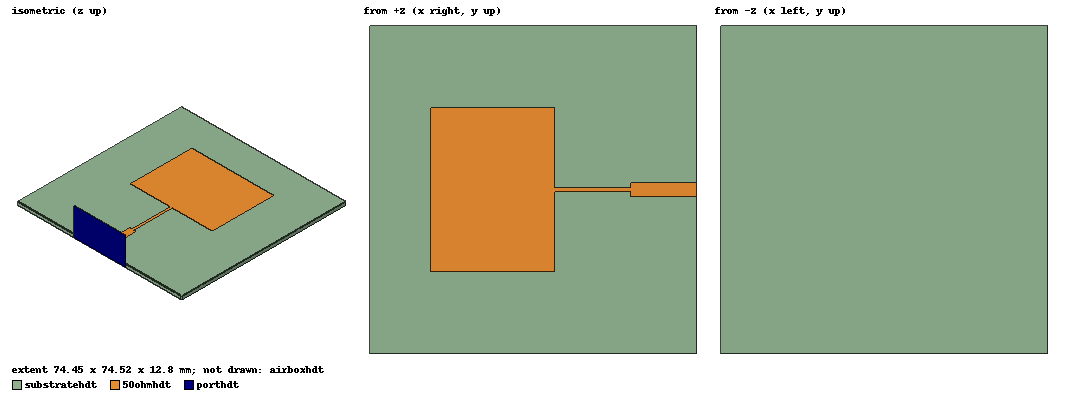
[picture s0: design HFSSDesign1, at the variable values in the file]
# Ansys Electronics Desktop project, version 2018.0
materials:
  vacuum: permittivity=1
  FR4_epoxy: permittivity=4.4 dielectric_loss_tangent=0.02

design HFSSDesign1 (HFSS, DrivenModal, model units mm)
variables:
  H = 1.6mm
  L0 = 28mm
  W0 = 37.26mm
  L1 = 17.45mm
  W1 = 1mm
  L2 = 15mm
  W2 = 2.98mm
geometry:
  substratehdt [FR4_epoxy] = box(corner=(-L0, -W0, 0mm), size=(1.5*L0+L1+L2, 2*W0, H))
  patch = rectangle(corner=(-L0/2, -W0/2, H), x_size=L0, y_size=W0)
  transition = rectangle(corner=(L0/2, -W1/2, H), x_size=L1, y_size=W1)
  50ohmhdt = rectangle(corner=(L0/2+L1, -W2/2, H), x_size=L2, y_size=W2)
  50ohmhdt.unite(patch, transition)
  airboxhdt [vacuum] = box(corner=(-L0/2-30mm, -W0/2-30mm, 0mm), size=(L0+L1+L2+30mm, W0+60mm, H+30mm))
  porthdt = rectangle(corner=(L0/2+L1+L2, -4*W2, 0mm), y_size=8*W2, z_size=8*H)
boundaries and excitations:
  PerfE1: Perfect E Objects=50ohmhdt
  Rad1: Radiation Objects=airboxhdt
  PerfE2: Perfect E Faces=substratehdt.face(-z)
  1: Wave Port Faces=porthdt.face NumModes=1 Modes{Mode1{CharImp=Zpi RenormImp=50ohm}}
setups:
  Setup1: HfssDriven Frequency=2.45GHz MaxDeltaS=0.02 MaximumPasses=20 MinimumPasses=1 MinimumConvergedPasses=1 PercentRefinement=30 BasisOrder=1 PortAccuracy=2
    sweep Sweep: 1.5GHz to 3.5GHz step 0.01GHz; Type=Fast SaveFields
  Setup2: HfssDriven Frequency=5GHz MaxDeltaS=0.02 MaximumPasses=6 MinimumPasses=1 MinimumConvergedPasses=1 PercentRefinement=30 BasisOrder=1 PortAccuracy=2
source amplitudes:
  1:1: 1W 0deg
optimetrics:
  ParametricSetup1: Parametric Sim._Setups=[Setup1]
    sweep L0: LIN 27mm 30mm 1mm
  ParametricSetup2: Parametric Sim._Setups=[Setup1]
    sweep W1: LIN 0.9mm 1.4mm 0.1mm
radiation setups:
  Infinite Sphere1: Infinite Sphere Theta=-180deg..180deg step 1deg Phi=0deg..90deg step 90deg
  3d: Infinite Sphere Theta=0deg..180deg step 2deg Phi=0deg..360deg step 2deg
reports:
  S Parameter Plot 1: dB(S(1,1)) vs Freq on Setup1 : Sweep; markers m2 at 2.44GHz
  S Parameter Plot 2: dB(S(1,1)) vs Freq on Setup1 : Sweep [L0=all]; markers m1 at 2.44GHz
  S Parameter Plot 3: dB(S(1,1)) vs Freq on Setup1 : Sweep [L0=28mm W1=all]; markers m1 at 2.44GHz
  S Parameter Plot 4: dB(S(1,1)) vs Freq on Setup1 : Sweep [L0=28mm W1=1mm]; markers m1 at 2.44GHz
  S Parameter Chart 1: S(1,1) on Setup1 : Sweep [Freq=all L0=28mm W1=1mm]; markers m1 at 2.44GHz
  Gain Plot 1: dB(GainTotal) vs Theta on Setup1 : LastAdaptive, Infinite Sphere1 [Phi=all Freq=2.45GHz L0=28mm W1=1mm]
  Gain Plot 2: dB(GainTotal) vs Phi, Theta on Setup1 : LastAdaptive, 3d [Freq=2.45GHz L0=28mm W1=1mm]
  VSWR Plot 1: mag(VSWR(1)) vs Freq on Setup1 : Sweep [L0=28mm W1=1mm]; markers m1 at 2.44GHz
  S Parameter Plot 5: dB(S(1,1)) vs Freq on Setup1 : Sweep [L0=all W1=all]
  S Parameter Chart 2: S(1,1) on Setup1 : Sweep [Freq=all L0=28mm W1=1mm]
  Gain Plot 3: dB(GainTotal) vs Theta on Setup1 : LastAdaptive, Infinite Sphere1 [Phi=all Freq=2.45GHz L0=28mm W1=1mm]
